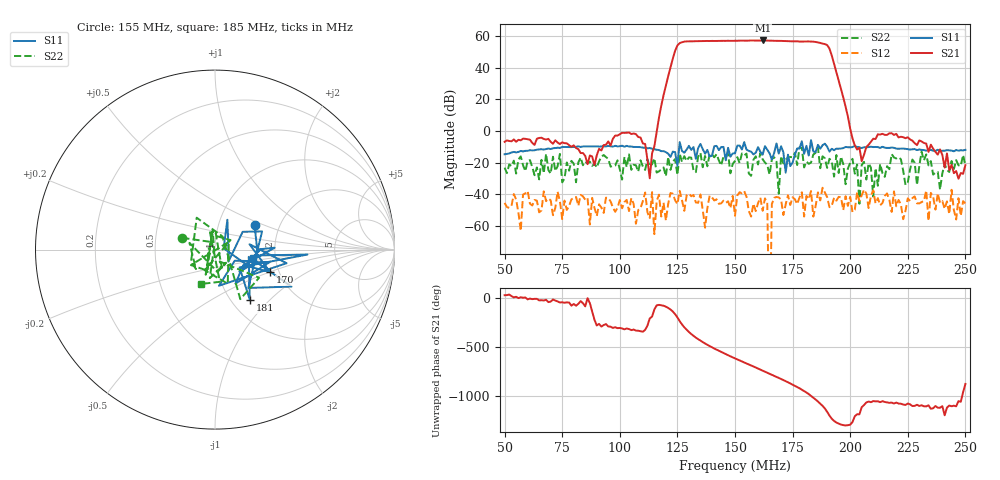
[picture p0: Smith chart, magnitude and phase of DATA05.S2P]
! Network Analyzer HP8753D.06.12 Serial No. 3410A09394
! 13 Jun 2019  10:24:17
# HZ  S  DB R 50
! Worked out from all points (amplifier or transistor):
!   201 points, 50 MHz to 250 MHz, reference 50 ohm
!   highest |S21| = 57.3 dB at 162 MHz (marker M1)
!   |S21| within 3 dB of that: 125.1 MHz to 190 MHz (64.93 MHz wide, 41.2 % of centre)
!   unconditionally stable (mu >= 1): start of sweep to 121.8 MHz; 136.7954 MHz to 137.199 MHz; 193.4 MHz to end of sweep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
!   at 83 MHz: K = 226.28, MAG = -13.4 dB, |S12| = -40.3 dB
!   at 150 MHz: K = 1.07, MSG = 55.3 dB, |S12| = -53.5 dB
!   at 250 MHz: K = 1061.23, MAG = -21.2 dB, |S12| = -45.6 dB
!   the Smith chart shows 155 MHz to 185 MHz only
!   S11 on the Smith chart (normalised r, x): 155 MHz: 1.49, +0.43; 170 MHz: 1.79, -0.50; 181 MHz: 1.21, -0.77; 185 MHz: 1.53, -0.16
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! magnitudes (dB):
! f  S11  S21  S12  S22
! 50 MHz  -14.7  -6.8  -45.4  -23.1
! 84 MHz  -9.7  -13.9  -41.2  -21.6
! 107 MHz  -10.0  -1.9  -58.6  -21.6
! 113 MHz  -10.7  -29.8  -55.0  -22.5
! 117 MHz  -12.0  8.4  -40.2  -25.5
! 126 MHz  -7.0  55.6  -37.8  -14.3
! 150 MHz  -14.1  57.0  -53.5  -18.9
! 155 MHz  -11.7  57.1  -41.5  -14.3
! 162 MHz  -14.9  57.3  -50.3  -17.8
! 164 MHz  -11.8  57.1  -45.3  -21.3
! 165 MHz  -14.0  57.1  -138.1  -27.5
! 166 MHz  -18.0  57.1  -46.1  -17.8
! 169 MHz  -14.2  57.0  -41.9  -39.6
! 170 MHz  -9.6  57.0  -43.2  -15.8
! 181 MHz  -9.3  56.6  -41.0  -19.3
! 184 MHz  -12.9  56.5  -54.1  -14.8
! 185 MHz  -13.2  56.3  -47.4  -13.7
! 201 MHz  -10.1  -4.7  -51.2  -17.5
! 204 MHz  -10.2  -10.5  -44.2  -45.9
! 205 MHz  -10.8  -19.1  -40.7  -21.4
! 217 MHz  -10.6  -1.4  -43.5  -24.1
! 250 MHz  -11.9  -21.5  -45.6  -21.8
